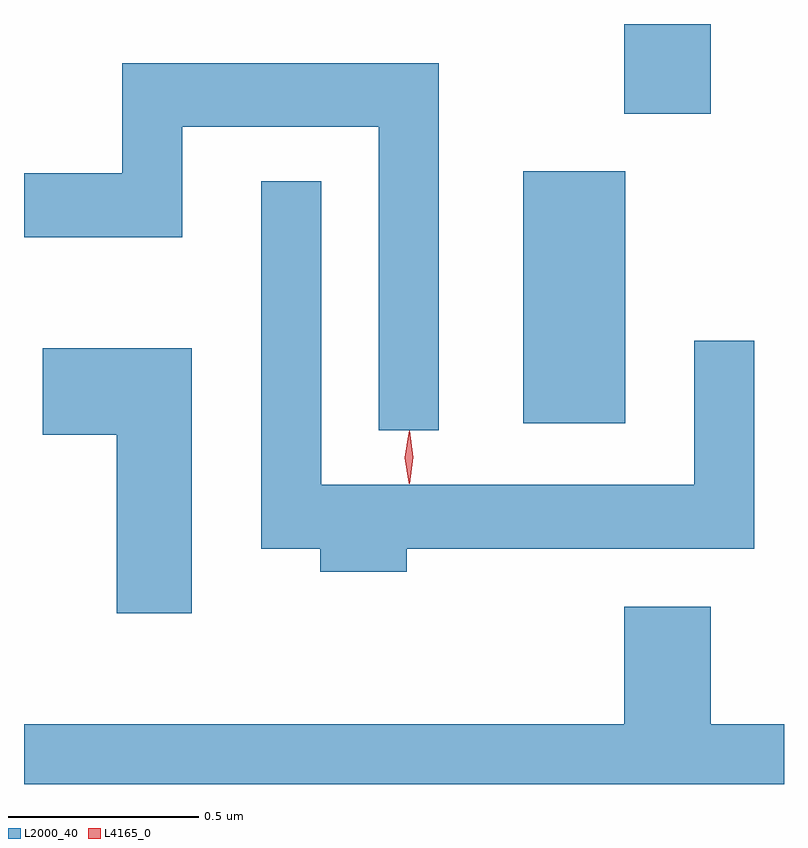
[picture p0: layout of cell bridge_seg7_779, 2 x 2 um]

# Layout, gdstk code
import gdstk
lib = gdstk.Library(unit=1e-6, precision=1e-09)
def R(c, l, rs):  # rectangles x0, y0, x1, y1
    for r in rs: c.add(gdstk.rectangle(r[:2], r[2:], *l))
def P(c, l, *ps):  # polygons
    for p in ps: c.add(gdstk.Polygon(p, *l))
L2000_40 = (2000, 40)
L4165_0 = (4165, 0)

bridge_seg7_779 = lib.new_cell('bridge_seg7_779')
R(bridge_seg7_779, L2000_40, [(498.676,1739.796,498.944,1740.459), (498.941,1740.611,499.169,1740.847)])
P(bridge_seg7_779, L2000_40, [(498.454,1740.744),(497.621,1740.744),(497.621,1740.454),(497.362,1740.454),(497.362,1740.286),(497.779,1740.286),(497.779,1740.576),(498.296,1740.576),(498.296,1739.778),(498.454,1739.778)],
  [(498.369,1739.466),(499.284,1739.466),(499.284,1740.013),(499.126,1740.013),(499.126,1739.634),(498.144,1739.634),(498.144,1740.433),(497.986,1740.433),(497.986,1739.466),(498.141,1739.466),(498.141,1739.406),(498.369,1739.406)],
  [(497.804,1739.994),(497.411,1739.994),(497.411,1739.766),(497.606,1739.766),(497.606,1739.296),(497.804,1739.296)],
  [(499.362,1739.004),(499.169,1739.004),(499.169,1739.314),(498.941,1739.314),(498.941,1739.004),(497.362,1739.004),(497.362,1738.847),(499.362,1738.847)])
P(bridge_seg7_779, L4165_0, [(498.376,1739.637),(498.376,1739.637),(498.366,1739.707),(498.376,1739.776),(498.376,1739.776),(498.377,1739.776),(498.386,1739.707),(498.377,1739.637)],
  [(498.374,1739.639),(498.374,1739.64),(498.364,1739.706),(498.374,1739.772),(498.374,1739.773),(498.375,1739.772),(498.384,1739.706),(498.375,1739.64)])

lib.write_gds('bridge_seg7_779.gds')
